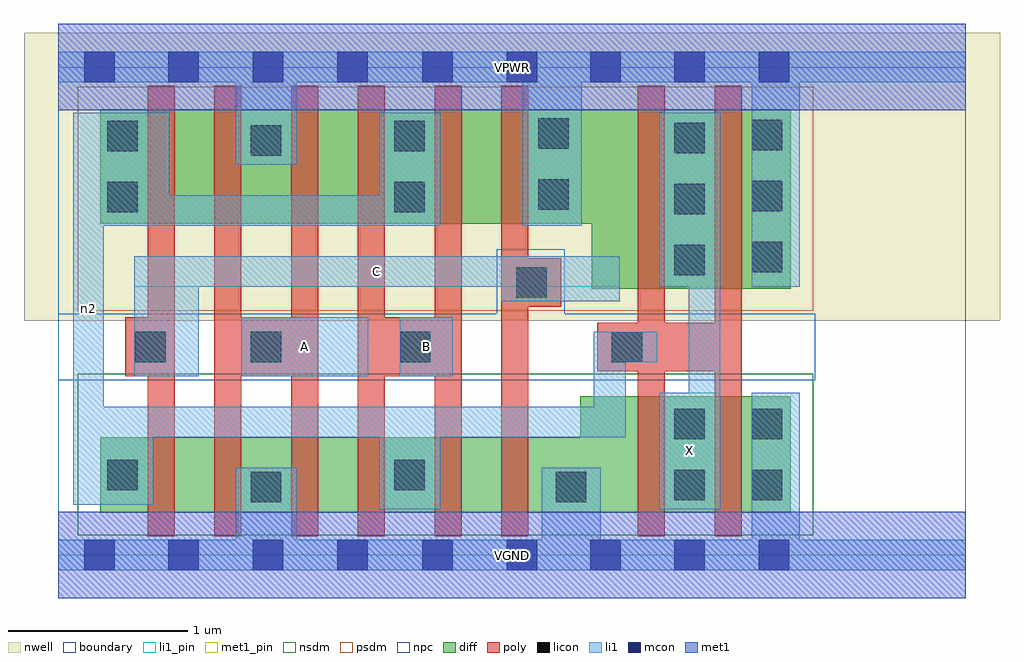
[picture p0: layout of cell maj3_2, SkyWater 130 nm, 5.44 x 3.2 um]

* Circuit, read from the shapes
.subckt maj3_2 A B C VGND VPWR X n2
XM1 n1 C n2 VSUBS sky130_fd_pr__nfet_01v8 w=0.42 l=0.15
XM2 VGND A n1 VSUBS sky130_fd_pr__nfet_01v8 w=0.42 l=0.15
XM3 n3 A VGND VSUBS sky130_fd_pr__nfet_01v8 w=0.42 l=0.15
XM4 n2 B n3 VSUBS sky130_fd_pr__nfet_01v8 w=0.42 l=0.15
XM5 n4 B n2 VSUBS sky130_fd_pr__nfet_01v8 w=0.42 l=0.15
XM6 VGND C n4 VSUBS sky130_fd_pr__nfet_01v8 w=0.42 l=0.15
XM7 X n2 VGND VSUBS sky130_fd_pr__nfet_01v8 w=0.65 l=0.15 m=2
XM8 n5 C n2 n6 sky130_fd_pr__pfet_01v8 w=0.64 l=0.15
XM9 VPWR A n5 n6 sky130_fd_pr__pfet_01v8 w=0.64 l=0.15
XM10 n7 A VPWR n6 sky130_fd_pr__pfet_01v8 w=0.64 l=0.15
XM11 n2 B n7 n6 sky130_fd_pr__pfet_01v8 w=0.64 l=0.15
XM12 n8 B n2 n6 sky130_fd_pr__pfet_01v8 w=0.64 l=0.15
XM13 VPWR C n8 n6 sky130_fd_pr__pfet_01v8 w=0.64 l=0.15
XM14 X n2 VPWR n6 sky130_fd_pr__pfet_01v8 w=1 l=0.15 m=2
.ends

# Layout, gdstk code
import gdstk
lib = gdstk.Library(unit=1e-6, precision=1e-09)
def R(c, l, rs):  # rectangles x0, y0, x1, y1
    for r in rs: c.add(gdstk.rectangle(r[:2], r[2:], *l))
def A(c, l, x, y, w, h, nx, ny, dx, dy):  # array of equal rectangles
    R(c, l, [(x+i*dx, y+j*dy, x+i*dx+w, y+j*dy+h) for i in range(nx) for j in range(ny)])
nwell = (64, 20)
diff = (65, 20)
poly = (66, 20)
licon = (66, 44)
li1_pin = (67, 16)
li1 = (67, 20)
mcon = (67, 44)
met1_pin = (68, 16)
met1 = (68, 20)
nsdm = (93, 44)
psdm = (94, 20)
npc = (95, 20)
boundary = (235, 4)

maj3_2 = lib.new_cell('maj3_2')
R(maj3_2, nwell, [(-0.19,1.305,5.25,2.91), (0,1.305,5.06,2.91)])
R(maj3_2, diff, [(0.235,0.235,4.085,0.655), (2.91,0.235,4.085,0.885), (2.975,1.485,4.085,2.485), (0.235,1.845,4.085,2.485)])
R(maj3_2, poly, [(0.5,0.105,0.65,2.615), (0.87,0.105,1.02,2.615), (1.3,0.105,1.45,2.615), (1.67,0.105,1.82,2.615), (2.1,0.105,2.25,2.615), (2.47,0.105,2.62,2.615), (3.23,0.105,3.38,2.615), (3.66,0.105,3.81,2.615), (0.375,0.995,0.65,1.325), (0.87,0.995,1.45,1.325), (1.67,0.995,2.25,1.325), (3.005,1.025,3.81,1.295), (2.47,1.385,2.805,1.655)])
A(maj3_2, licon, 3.435, 1.56, 0.17, 0.17, 1, 3, 0, 0.34)
A(maj3_2, licon, 3.865, 1.575, 0.17, 0.17, 1, 3, 0, 0.34)
R(maj3_2, licon, [(1.075,0.295,1.245,0.465), (2.775,0.295,2.945,0.465), (3.435,0.305,3.605,0.475), (3.865,0.305,4.035,0.475), (0.275,0.36,0.445,0.53), (1.875,0.36,2.045,0.53), (3.435,0.645,3.605,0.815), (3.865,0.645,4.035,0.815), (0.43,1.075,0.6,1.245), (1.075,1.075,1.245,1.245), (1.905,1.075,2.075,1.245), (3.085,1.075,3.255,1.245), (2.555,1.435,2.725,1.605), (0.275,1.91,0.445,2.08), (1.875,1.91,2.045,2.08), (2.675,1.925,2.845,2.095), (1.075,2.225,1.245,2.395), (0.275,2.25,0.445,2.42), (1.875,2.25,2.045,2.42), (2.675,2.265,2.845,2.435)])
R(maj3_2, li1_pin, [(3.35,0.255,3.69,0.905), (1.02,0.995,1.73,1.325), (1.905,0.995,2.2,1.325), (0.425,1.495,3.13,1.665)])
R(maj3_2, li1, [(0,-0.085,5.06,0.085), (0.99,-0.085,1.33,0.485), (2.695,-0.085,3.025,0.485), (3.865,-0.085,4.135,0.905), (1.79,0.255,2.13,0.825), (3.35,0.255,3.69,0.905), (3.515,0.255,3.69,2.465), (0.085,0.28,0.255,2.465), (0.085,0.28,0.53,0.825), (0.085,0.655,3.165,0.825), (2.985,0.655,3.165,1.245), (0.425,0.995,0.785,1.665), (1.02,0.995,1.73,1.325), (1.905,0.995,2.2,1.325), (2.985,1.075,3.34,1.245), (2.47,1.415,3.13,1.665), (0.425,1.495,3.13,1.665), (3.35,1.495,3.69,2.465), (3.865,1.495,4.135,2.805), (0.085,1.835,2.13,2.005), (0.085,1.835,0.62,2.465), (1.79,1.835,2.13,2.465), (2.59,1.835,2.92,2.805), (0.99,2.175,1.33,2.805), (0,2.635,5.06,2.805)])
A(maj3_2, mcon, 0.145, -0.085, 0.17, 0.17, 4, 2, 0.47, 2.72)
A(maj3_2, mcon, 2.965, -0.085, 0.17, 0.17, 3, 2, 0.47, 2.72)
R(maj3_2, mcon, [(2.03,-0.085,2.2,0.085), (2.5,-0.085,2.67,0.085), (2.03,2.635,2.2,2.805), (2.5,2.635,2.67,2.805)])
R(maj3_2, met1_pin, [(0,-0.24,5.06,0.24), (0,2.48,5.06,2.96)])
R(maj3_2, met1, [(0,-0.24,5.06,0.24), (0,2.48,5.06,2.96)])
R(maj3_2, nsdm, [(0.11,0.11,4.21,1.01)])
R(maj3_2, psdm, [(0.11,1.36,4.21,2.61)])
R(maj3_2, npc, [(0,0.975,4.22,1.345), (2.445,0.975,2.825,1.705)])
R(maj3_2, boundary, [(0,0,5.06,2.72)])
maj3_2.add(gdstk.Label('A', (1.375,1.16), layer=67, texttype=5))
maj3_2.add(gdstk.Label('B', (2.052,1.16), layer=67, texttype=5))
maj3_2.add(gdstk.Label('C', (1.777,1.58), layer=67, texttype=5))
maj3_2.add(gdstk.Label('X', (3.52,0.58), layer=67, texttype=5))
maj3_2.add(gdstk.Label('n2', (0.17,1.372), layer=67, texttype=5))
maj3_2.add(gdstk.Label('VPWR', (2.53,2.72), layer=68, texttype=5))
maj3_2.add(gdstk.Label('VGND', (2.53,0), layer=68, texttype=5))
maj3_2.add(gdstk.Label('A', (1.375,1.16), layer=67, texttype=16))
maj3_2.add(gdstk.Label('B', (2.052,1.16), layer=67, texttype=16))
maj3_2.add(gdstk.Label('C', (1.777,1.58), layer=67, texttype=16))
maj3_2.add(gdstk.Label('X', (3.52,0.58), layer=67, texttype=16))
maj3_2.add(gdstk.Label('VPWR', (2.53,2.72), layer=68, texttype=16))
maj3_2.add(gdstk.Label('VGND', (2.53,0), layer=68, texttype=16))

lib.write_gds('maj3_2.gds')
